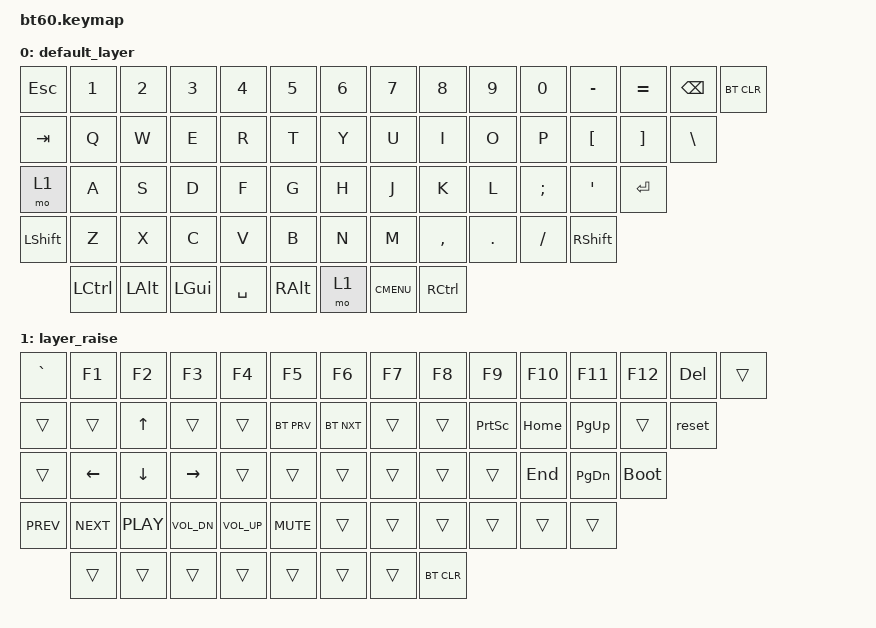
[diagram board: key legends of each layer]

/*
 * Copyright (c) 2020 The ZMK Contributors
 *
 * SPDX-License-Identifier: MIT
 */


/* THIS FILE WAS GENERATED!
 *
 * This file was generated automatically. You may or may not want to
 * edit it directly.
 */

#include <behaviors.dtsi>
#include <dt-bindings/zmk/keys.h>
#include <dt-bindings/zmk/bt.h>

/ {
    keymap {
        compatible = "zmk,keymap";


        default_layer {
            bindings = <
   &kp ESC     &kp N1    &kp N2    &kp N3     &kp N4    &kp N5            &kp N6       &kp N7     &kp N8   &kp N9    &kp N0  &kp MINUS  &kp EQUAL  &kp BSPC  &bt BT_CLR
   &kp TAB      &kp Q     &kp W     &kp E      &kp R     &kp T             &kp Y        &kp U      &kp I    &kp O     &kp P   &kp LBKT   &kp RBKT  &kp BSLH
     &mo 1      &kp A     &kp S     &kp D      &kp F     &kp G             &kp H        &kp J      &kp K    &kp L  &kp SEMI    &kp SQT    &kp RET
 &kp LSHFT      &kp Z     &kp X     &kp C      &kp V     &kp B             &kp N        &kp M  &kp COMMA  &kp DOT  &kp FSLH  &kp RSHFT
            &kp LCTRL  &kp LALT  &kp LGUI  &kp SPACE  &kp RALT             &mo 1  &kp K_CMENU  &kp RCTRL
            >;
        };

        layer_raise {
            bindings = <
  &kp GRAVE      &kp F1      &kp F2        &kp F3        &kp F4      &kp F5                &kp F6  &kp F7      &kp F8     &kp F9   &kp F10    &kp F11      &kp F12  &kp DEL  &trans
     &trans      &trans      &kp UP        &trans        &trans  &bt BT_PRV            &bt BT_NXT  &trans      &trans  &kp PSCRN  &kp HOME  &kp PG_UP       &trans   &reset
     &trans    &kp LEFT    &kp DOWN     &kp RIGHT        &trans      &trans                &trans  &trans      &trans     &trans   &kp END  &kp PG_DN  &bootloader
 &kp C_PREV  &kp C_NEXT  &kp C_PLAY  &kp C_VOL_DN  &kp C_VOL_UP  &kp C_MUTE                &trans  &trans      &trans     &trans    &trans     &trans
                 &trans      &trans        &trans        &trans      &trans                &trans  &trans  &bt BT_CLR
            >;
        };

    };
};
